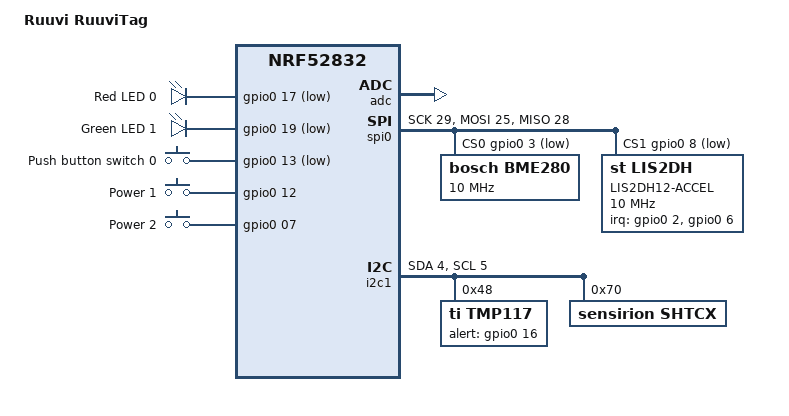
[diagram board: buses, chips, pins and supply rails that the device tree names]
/*
 * Copyright (c) 2020 Ruuvi Innovations Ltd (Oy)
 *
 * SPDX-License-Identifier: Apache-2.0
 */

/dts-v1/;
#include <nordic/nrf52832_qfaa.dtsi>

/ {
	model = "Ruuvi RuuviTag";
	compatible = "ruuvi,ruuvitag";

	chosen {
		zephyr,sram = &sram0;
		zephyr,flash = &flash0;
		zephyr,code-partition = &slot0_partition;
	};

	/* These aliases are provided for compatibility with samples */
	aliases {
		led0 = &led0;
		led1 = &led1;
		sw0 = &button0;
		snp1 = &snp1;
		snp2 = &snp2;
	};

	leds {
		compatible = "gpio-leds";
		led0: led_0 {
			gpios = <&gpio0 17 GPIO_ACTIVE_LOW>;
			label = "Red LED 0";
		};
		led1: led_1 {
			gpios = <&gpio0 19 GPIO_ACTIVE_LOW>;
			label = "Green LED 1";
		};
	};

	buttons {
		compatible = "gpio-keys";
		button0: button_0 {
			gpios = <&gpio0 13 (GPIO_PULL_UP | GPIO_ACTIVE_LOW)>;
			label = "Push button switch 0";
		};
	};

	sensor_power {
		compatible = "gpio-keys";
		snp1: sensor_power_1 {
			gpios = <&gpio0 12 GPIO_ACTIVE_HIGH>;
			label = "Power 1";
		};
		snp2: sensor_power_2 {
			gpios = <&gpio0 07 GPIO_ACTIVE_HIGH>;
			label = "Power 2";
		};
	};

};

&adc {
	status = "okay";
};

&gpiote {
	status = "okay";
};

&gpio0 {
	status = "okay";
};

&spi0 {
	compatible = "nordic,nrf-spi";
	status = "okay";
	sck-pin = <29>;
	mosi-pin = <25>;
	miso-pin = <28>;
	cs-gpios = <&gpio0 3 GPIO_ACTIVE_LOW>, <&gpio0 8 GPIO_ACTIVE_LOW>;

	bme280@0 {
		compatible = "bosch,bme280";
		reg = <0>;
		spi-max-frequency = <10000000>;
		label= "BME280";
	};

	lis2dh12: lis2dh12@1 {
		compatible = "st,lis2dh", "st,lis2dh12";
		reg = <1>;
		spi-max-frequency = <10000000>;
		irq-gpios =  <&gpio0 2 GPIO_ACTIVE_HIGH>, <&gpio0 6 GPIO_ACTIVE_HIGH>;
		label = "LIS2DH12-ACCEL";
	};
};
&i2c1 {
	compatible = "nordic,nrf-twi";
	status = "okay";
	sda-pin = <4>;
	scl-pin = <5>;

	ti_tmp117: ti_tmp117@48 {
		compatible = "ti,tmp117";
		reg = <0x48>;
		label = "TMP117";
		alert-gpios = <&gpio0 16 GPIO_ACTIVE_HIGH>;
	};

    sensirion_shtcx: shtcx@70 {
		compatible = "sensirion,shtcx";
		reg = <0x70>;
		label = "SHTCX";
                chip = "shtc3";
                measure-mode = "normal";
	};

    
};

&flash0 {

	partitions {
		compatible = "fixed-partitions";
		#address-cells = <1>;
		#size-cells = <1>;

		boot_partition: partition@0 {
			label = "mcuboot";
			reg = <0x00000000 0xc000>;
		};
		slot0_partition: partition@c000 {
			label = "image-0";
			reg = <0x0000C000 0x32000>;
		};
		slot1_partition: partition@3e000 {
			label = "image-1";
			reg = <0x0003E000 0x32000>;
		};
		scratch_partition: partition@70000 {
			label = "image-scratch";
			reg = <0x00070000 0xa000>;
		};

		/*
		 * The flash starting at 0x0007a000 and ending at
		 * 0x0007ffff (sectors 122-127) is reserved for use
		 * by the application.
		 * Storage partition will be used by FCB/LittleFS/NVS
		 * if enabled.
		 */
		storage_partition: partition@7a000 {
			label = "storage";
			reg = <0x0007a000 0x00006000>;
		};
	};
};
